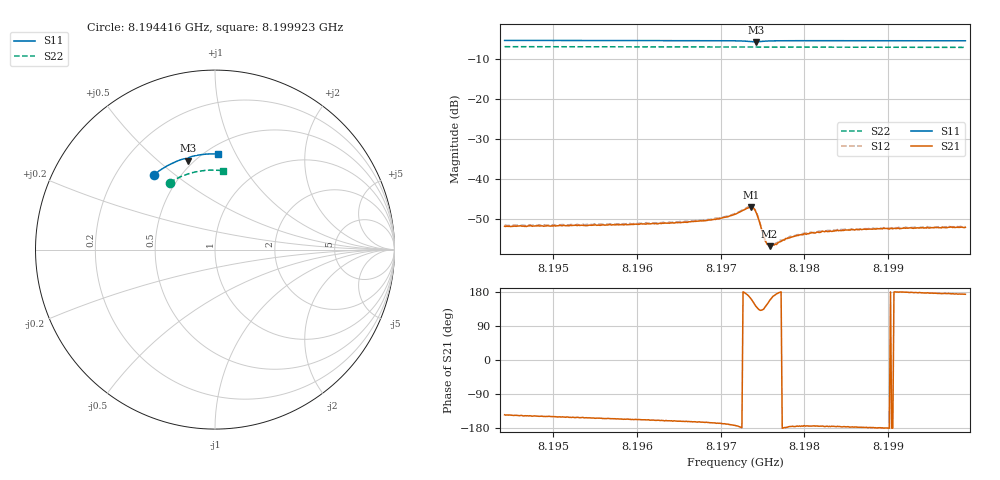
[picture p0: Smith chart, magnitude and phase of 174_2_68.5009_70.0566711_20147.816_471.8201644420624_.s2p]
#  HZ  S  RI  R  50.00
! Rohde & Schwarz Vector Network Analyzer
! Rohde-Schwarz,ZNB20-2Port,1311601062101988,3.16
! Created: UTC 3/20/2024, 5:11:33 PM
! freq[Hz]  re:S11  im:S11  re:S21  im:S21  re:S12  im:S12  re:S22  im:S22
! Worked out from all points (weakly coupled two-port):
!   401 points, 8.194416 GHz to 8.199923 GHz, reference 50 ohm
!   highest |S21| = -46.97 dB at 8.197362 GHz (marker M1); lowest = -56.7 dB at 8.197583 GHz (marker M2)
!   lowest |S11| = -5.7 dB at 8.197417 GHz (marker M3), VSWR 3.14, Z = 23.3 + j31.5 ohm
!   |S11| at or under -10 dB: nowhere
!   |S22| runs from -7.1 to -6.9 dB; largest |S21 - S12| = 0.00027
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8.1944159e9  -0.3417 0.4158  -0.0021 -0.0015  -0.0022 -0.00147  -0.2518 0.3736
8.1953384e9  -0.2885 0.4536  -0.00235 -0.00125  -0.00244 -0.0012  -0.2067 0.3988
8.1962608e9  -0.2305 0.4846  -0.00263 -0.001  -0.0027 -0.000897  -0.1587 0.4187
8.1968528e9  -0.1905 0.5006  -0.00299 -0.000811  -0.00308 -0.000697  -0.1271 0.4285
8.1970456e9  -0.1759 0.5048  -0.00328 -0.000694  -0.00335 -0.000584  -0.1163 0.431
8.1971695e9  -0.1656 0.5067  -0.00364 -0.000474  -0.00372 -0.000331  -0.1096 0.4325
8.1973209e9  -0.1511 0.5035  -0.00431 0.000636  -0.00441 0.000887  -0.101 0.434
8.1973623e9  -0.1487 0.4995  -0.00424 0.00146  -0.00427 0.00165  -0.0987 0.4345
8.1973898e9  -0.1492 0.4965  -0.00382 0.00204  -0.00382 0.00222  -0.0973 0.4346
8.1974173e9  -0.1516 0.4946  -0.00312 0.0024  -0.00313 0.00256  -0.0958 0.4348
8.1974449e9  -0.1546 0.4953  -0.00237 0.00234  -0.00231 0.00253  -0.0944 0.4351
8.1974999e9  -0.1564 0.5012  -0.00145 0.00158  -0.00143 0.00166  -0.0915 0.4359
8.1975275e9  -0.1554 0.5042  -0.0013 0.00112  -0.00133 0.00123  -0.09 0.4361
8.197555e9  -0.1537 0.5067  -0.0013 0.000825  -0.0013 0.000904  -0.0885 0.4365
8.1975825e9  -0.1516 0.5088  -0.00134 0.000574  -0.00135 0.000631  -0.0869 0.4367
8.1976376e9  -0.1472 0.5119  -0.00149 0.000262  -0.00149 0.000306  -0.0839 0.4374
8.1977615e9  -0.1373 0.5163  -0.00174 -5.56e-05  -0.00179 -8.41e-06  -0.0769 0.4386
8.1978441e9  -0.1308 0.5183  -0.00189 -0.000151  -0.00193 -6.73e-05  -0.0723 0.4391
8.1980919e9  -0.1124 0.5229  -0.00214 -0.000212  -0.00217 -9.14e-05  -0.0584 0.4409
8.1984912e9  -0.0838 0.5281  -0.00232 -0.000149  -0.00239 -4.75e-05  -0.0356 0.4425
8.1990144e9  -0.0465 0.5321  -0.00239 -1.94e-07  -0.00246 0.000125  -0.00606 0.4428
8.1999231e9  0.0179 0.5328  -0.00249 0.000286  -0.00253 0.000418  0.0454 0.4389
